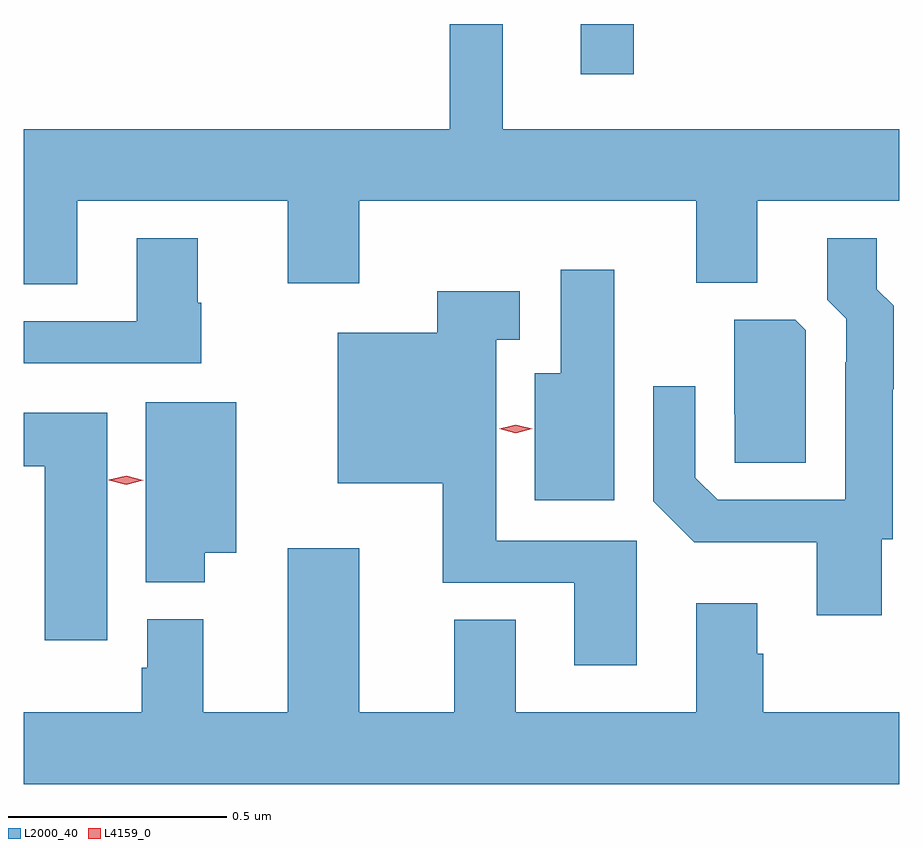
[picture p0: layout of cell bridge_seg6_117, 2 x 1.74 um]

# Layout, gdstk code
import gdstk
lib = gdstk.Library(unit=1e-6, precision=1e-09)
def R(c, l, rs):  # rectangles x0, y0, x1, y1
    for r in rs: c.add(gdstk.rectangle(r[:2], r[2:], *l))
def P(c, l, *ps):  # polygons
    for p in ps: c.add(gdstk.Polygon(p, *l))
L2000_40 = (2000, 40)
L4159_0 = (4159, 0)

bridge_seg6_117 = lib.new_cell('bridge_seg6_117')
R(bridge_seg6_117, L2000_40, [(381.461,939.633,381.583,939.748)])
P(bridge_seg6_117, L2000_40, [(380.311,939.344),(380.792,939.344),(380.792,939.156),(380.956,939.156),(380.956,939.344),(381.725,939.344),(381.725,939.157),(381.865,939.157),(381.865,939.344),(382.189,939.344),(382.189,939.508),(381.283,939.508),(381.283,939.748),(381.162,939.748),(381.162,939.508),(380.189,939.508),(380.189,939.154),(380.311,939.154)],
  [(382.149,938.571),(382.174,938.571),(382.174,938.914),(382.176,938.914),(382.176,939.104),(382.138,939.142),(382.138,939.259),(382.025,939.259),(382.025,939.118),(382.068,939.075),(382.068,938.975),(382.065,938.975),(382.065,938.661),(381.774,938.661),(381.723,938.712),(381.723,938.92),(381.627,938.92),(381.627,938.658),(381.721,938.564),(382.001,938.564),(382.001,938.397),(382.149,938.397)],
  [(380.595,939.111),(380.587,939.111),(380.587,939.259),(380.447,939.259),(380.447,939.069),(380.189,939.069),(380.189,938.973),(380.595,938.973)],
  [(381.538,939.187),(381.416,939.187),(381.416,938.95),(381.356,938.95),(381.356,938.66),(381.538,938.66)],
  [(381.589,938.568),(381.268,938.568),(381.268,939.027),(381.322,939.027),(381.322,939.137),(381.134,939.137),(381.134,939.043),(380.906,939.043),(380.906,938.699),(381.146,938.699),(381.146,938.472),(381.446,938.472),(381.446,938.283),(381.589,938.283)],
  [(381.975,939.048),(381.951,939.072),(381.812,939.072),(381.812,938.857),(381.813,938.857),(381.813,938.746),(381.975,938.746)],
  [(380.602,938.54),(380.674,938.54),(380.674,938.884),(380.468,938.884),(380.468,938.473),(380.602,938.473)],
  [(380.38,938.86),(380.189,938.86),(380.189,938.738),(380.237,938.738),(380.237,938.34),(380.38,938.34)],
  [(382.189,938.176),(381.878,938.176),(381.878,938.309),(381.865,938.309),(381.865,938.425),(381.725,938.425),(381.725,938.176),(381.313,938.176),(381.313,938.387),(381.173,938.387),(381.173,938.176),(380.956,938.176),(380.956,938.551),(380.792,938.551),(380.792,938.176),(380.599,938.176),(380.599,938.388),(380.471,938.388),(380.471,938.277),(380.459,938.277),(380.459,938.176),(380.189,938.176),(380.189,938.012),(382.189,938.012)])
P(bridge_seg6_117, L4159_0, [(381.313,938.813),(381.275,938.823),(381.275,938.823),(381.275,938.824),(381.313,938.833),(381.351,938.824),(381.351,938.823),(381.351,938.823)],
  [(380.423,938.696),(380.383,938.706),(380.383,938.707),(380.383,938.707),(380.423,938.716),(380.462,938.706),(380.462,938.706),(380.462,938.706)])

lib.write_gds('bridge_seg6_117.gds')
